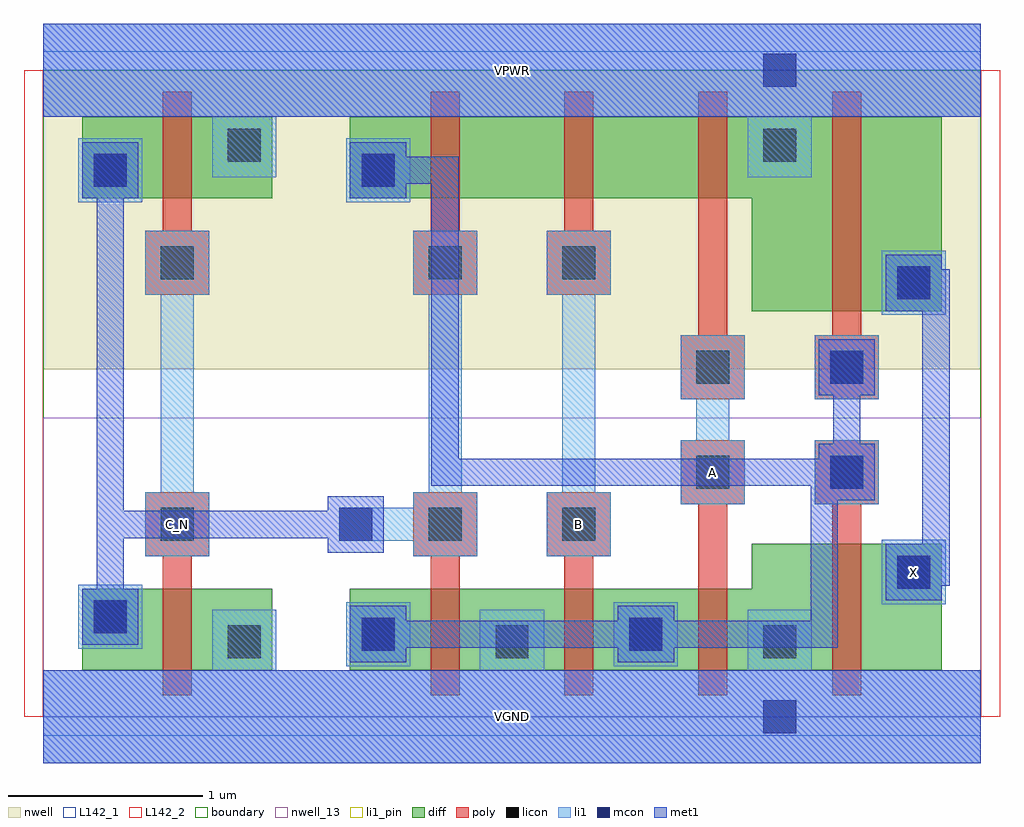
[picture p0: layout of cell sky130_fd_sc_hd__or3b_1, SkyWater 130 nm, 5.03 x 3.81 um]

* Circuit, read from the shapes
.subckt sky130_fd_sc_hd__or3b_1 A B C_N VGND VPWR X
XM1 VGND C_N n1 VSUBS sky130_fd_pr__nfet_01v8 w=0.42 l=0.15
XM2 VGND n1 n2 VSUBS sky130_fd_pr__nfet_01v8 w=0.42 l=0.15
XM3 n2 B VGND VSUBS sky130_fd_pr__nfet_01v8 w=0.42 l=0.15
XM4 VGND A n2 VSUBS sky130_fd_pr__nfet_01v8 w=0.42 l=0.15
XM5 X n2 VGND VSUBS sky130_fd_pr__nfet_01v8 w=0.65 l=0.15
XM6 VPWR C_N n1 n3 sky130_fd_pr__pfet_01v8 w=0.42 l=0.15
XM7 n4 n1 n2 n3 sky130_fd_pr__pfet_01v8 w=0.42 l=0.15
XM8 n5 B n4 n3 sky130_fd_pr__pfet_01v8 w=0.42 l=0.15
XM9 VPWR A n5 n3 sky130_fd_pr__pfet_01v8 w=0.42 l=0.15
XM10 X n2 VPWR n3 sky130_fd_pr__pfet_01v8 w=1 l=0.15
.ends

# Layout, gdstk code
import gdstk
lib = gdstk.Library(unit=1e-6, precision=1e-09)
def R(c, l, rs):  # rectangles x0, y0, x1, y1
    for r in rs: c.add(gdstk.rectangle(r[:2], r[2:], *l))
def A(c, l, x, y, w, h, nx, ny, dx, dy):  # array of equal rectangles
    R(c, l, [(x+i*dx, y+j*dy, x+i*dx+w, y+j*dy+h) for i in range(nx) for j in range(ny)])
def P(c, l, *ps):  # polygons
    for p in ps: c.add(gdstk.Polygon(p, *l))
nwell_13 = (64, 13)
nwell = (64, 20)
diff = (65, 20)
poly = (66, 20)
licon = (66, 44)
li1_pin = (67, 16)
li1 = (67, 20)
mcon = (67, 44)
met1 = (68, 20)
L142_1 = (142, 1)
L142_2 = (142, 2)
boundary = (235, 4)

sky130_fd_sc_hd__or3b_1 = lib.new_cell('sky130_fd_sc_hd__or3b_1')
R(sky130_fd_sc_hd__or3b_1, nwell_13, [(0,0,4.83,1.54)])
R(sky130_fd_sc_hd__or3b_1, nwell, [(0,1.79,4.83,3.33)])
R(sky130_fd_sc_hd__or3b_1, diff, [(0.2,0.24,1.18,0.66), (0.2,0.24,0.615,0.66), (0.615,0.24,1.18,0.66), (1.58,0.24,1.995,0.66), (1.995,0.24,2.685,0.66), (2.685,0.24,3.375,0.66), (4.065,0.24,4.63,0.89), (4.065,2.09,4.63,3.09), (0.2,2.67,1.18,3.09), (0.2,2.67,0.615,3.09), (0.615,2.67,1.18,3.09), (1.58,2.67,1.995,3.09), (1.995,2.67,2.685,3.09), (2.685,2.67,3.375,3.09)])
P(sky130_fd_sc_hd__or3b_1, diff, [(1.58,0.24),(1.58,0.66),(3.65,0.66),(3.65,0.89),(4.63,0.89),(4.63,0.24)],
  [(3.375,0.24),(3.375,0.66),(3.65,0.66),(3.65,0.89),(4.065,0.89),(4.065,0.24)],
  [(3.65,2.09),(3.65,2.67),(1.58,2.67),(1.58,3.09),(4.63,3.09),(4.63,2.09)],
  [(3.65,2.09),(3.65,2.67),(3.375,2.67),(3.375,3.09),(4.065,3.09),(4.065,2.09)])
P(sky130_fd_sc_hd__or3b_1, poly, [(2.685,0.11),(2.685,0.825),(2.595,0.825),(2.595,1.155),(2.925,1.155),(2.925,0.825),(2.835,0.825),(2.835,0.11)],
  [(2.595,2.175),(2.595,2.505),(2.685,2.505),(2.685,3.22),(2.835,3.22),(2.835,2.505),(2.925,2.505),(2.925,2.175)],
  [(4.065,0.11),(4.065,1.095),(3.975,1.095),(3.975,1.425),(4.305,1.425),(4.305,1.095),(4.215,1.095),(4.215,0.11)],
  [(3.975,1.635),(3.975,1.965),(4.065,1.965),(4.065,3.22),(4.215,3.22),(4.215,1.965),(4.305,1.965),(4.305,1.635)],
  [(1.995,0.11),(1.995,0.825),(1.905,0.825),(1.905,1.155),(2.235,1.155),(2.235,0.825),(2.145,0.825),(2.145,0.11)],
  [(1.905,2.175),(1.905,2.505),(1.995,2.505),(1.995,3.22),(2.145,3.22),(2.145,2.505),(2.235,2.505),(2.235,2.175)],
  [(3.375,0.11),(3.375,1.095),(3.285,1.095),(3.285,1.425),(3.615,1.425),(3.615,1.095),(3.525,1.095),(3.525,0.11)],
  [(3.285,1.635),(3.285,1.965),(3.375,1.965),(3.375,3.22),(3.525,3.22),(3.525,1.965),(3.615,1.965),(3.615,1.635)],
  [(0.615,0.11),(0.615,0.825),(0.525,0.825),(0.525,1.155),(0.855,1.155),(0.855,0.825),(0.765,0.825),(0.765,0.11)],
  [(0.525,2.175),(0.525,2.505),(0.615,2.505),(0.615,3.22),(0.765,3.22),(0.765,2.505),(0.855,2.505),(0.855,2.175)])
A(sky130_fd_sc_hd__or3b_1, licon, 0.95, 0.3, 0.17, 0.17, 3, 1, 1.38, 0)
R(sky130_fd_sc_hd__or3b_1, licon, [(1.64,0.34,1.81,0.51), (3.02,0.34,3.19,0.51), (0.26,0.43,0.43,0.6), (4.4,0.66,4.57,0.83), (0.605,0.905,0.775,1.075), (1.985,0.905,2.155,1.075), (2.675,0.905,2.845,1.075), (3.365,1.175,3.535,1.345), (4.055,1.175,4.225,1.345), (3.365,1.715,3.535,1.885), (4.055,1.715,4.225,1.885), (4.4,2.15,4.57,2.32), (0.605,2.255,0.775,2.425), (1.985,2.255,2.155,2.425), (2.675,2.255,2.845,2.425), (0.26,2.73,0.43,2.9), (1.64,2.73,1.81,2.9), (0.95,2.86,1.12,3.03), (3.71,2.86,3.88,3.03)])
R(sky130_fd_sc_hd__or3b_1, li1_pin, [(0,-0.24,4.83,0.24), (4.32,0.58,4.65,0.91), (0,3.09,4.83,3.57)])
P(sky130_fd_sc_hd__or3b_1, li1_pin, [(2.595,0.825),(2.595,1.155),(2.675,1.155),(2.675,2.175),(2.595,2.175),(2.595,2.505),(2.925,2.505),(2.925,2.175),(2.845,2.175),(2.845,1.155),(2.925,1.155),(2.925,0.825)],
  [(0.525,0.825),(0.525,1.155),(0.605,1.155),(0.605,2.175),(0.525,2.175),(0.525,2.505),(0.855,2.505),(0.855,2.175),(0.775,2.175),(0.775,1.155),(0.855,1.155),(0.855,0.825)],
  [(3.285,1.095),(3.285,1.425),(3.365,1.425),(3.365,1.635),(3.285,1.635),(3.285,1.965),(3.615,1.965),(3.615,1.635),(3.535,1.635),(3.535,1.425),(3.615,1.425),(3.615,1.095)])
R(sky130_fd_sc_hd__or3b_1, li1, [(1.56,0.26,1.89,0.59), (2.94,0.26,3.27,0.59), (0.18,0.35,0.51,0.68), (4.32,0.58,4.65,0.91), (3.975,1.095,4.305,1.425), (3.975,1.635,4.305,1.965), (4.32,2.07,4.65,2.4), (0.18,2.65,0.51,2.98), (1.56,2.65,1.89,2.98)])
P(sky130_fd_sc_hd__or3b_1, li1, [(2.595,0.825),(2.595,1.155),(2.675,1.155),(2.675,2.175),(2.595,2.175),(2.595,2.505),(2.925,2.505),(2.925,2.175),(2.845,2.175),(2.845,1.155),(2.925,1.155),(2.925,0.825)],
  [(0.87,2.78),(0.87,3.09),(0,3.09),(0,3.57),(4.83,3.57),(4.83,3.09),(3.96,3.09),(3.96,2.78),(3.63,2.78),(3.63,3.09),(1.2,3.09),(1.2,2.78)],
  [(1.905,0.825),(1.905,0.905),(1.525,0.905),(1.525,1.075),(1.905,1.075),(1.905,1.155),(1.985,1.155),(1.985,2.175),(1.905,2.175),(1.905,2.505),(2.235,2.505),(2.235,2.175),(2.155,2.175),(2.155,1.155),(2.235,1.155),(2.235,0.825)],
  [(0,-0.24),(0,0.24),(0.87,0.24),(0.87,0.55),(1.2,0.55),(1.2,0.24),(2.25,0.24),(2.25,0.55),(2.58,0.55),(2.58,0.24),(3.63,0.24),(3.63,0.55),(3.96,0.55),(3.96,0.24),(4.83,0.24),(4.83,-0.24)],
  [(3.285,1.095),(3.285,1.425),(3.365,1.425),(3.365,1.635),(3.285,1.635),(3.285,1.965),(3.615,1.965),(3.615,1.635),(3.535,1.635),(3.535,1.425),(3.615,1.425),(3.615,1.095)],
  [(0.525,0.825),(0.525,1.155),(0.605,1.155),(0.605,2.175),(0.525,2.175),(0.525,2.505),(0.855,2.505),(0.855,2.175),(0.775,2.175),(0.775,1.155),(0.855,1.155),(0.855,0.825)])
R(sky130_fd_sc_hd__or3b_1, mcon, [(3.71,-0.085,3.88,0.085), (1.64,0.34,1.81,0.51), (3.02,0.34,3.19,0.51), (0.26,0.43,0.43,0.6), (4.4,0.66,4.57,0.83), (1.525,0.905,1.695,1.075), (4.055,1.175,4.225,1.345), (4.055,1.715,4.225,1.885), (4.4,2.15,4.57,2.32), (0.26,2.73,0.43,2.9), (1.64,2.73,1.81,2.9), (3.71,3.245,3.88,3.415)])
R(sky130_fd_sc_hd__or3b_1, met1, [(0,-0.24,4.83,0.24), (0,3.09,4.83,3.57)])
P(sky130_fd_sc_hd__or3b_1, met1, [(1.58,0.28),(1.58,0.57),(1.87,0.57),(1.87,0.495),(2.96,0.495),(2.96,0.57),(3.25,0.57),(3.25,0.495),(3.955,0.495),(3.955,1.19),(2,1.19),(2,2.745),(1.87,2.745),(1.87,2.67),(1.58,2.67),(1.58,2.96),(1.87,2.96),(1.87,2.885),(2.14,2.885),(2.14,1.33),(3.995,1.33),(3.995,1.405),(4.07,1.405),(4.07,1.655),(3.995,1.655),(3.995,1.945),(4.285,1.945),(4.285,1.655),(4.21,1.655),(4.21,1.405),(4.285,1.405),(4.285,1.115),(4.095,1.115),(4.095,0.355),(3.25,0.355),(3.25,0.28),(2.96,0.28),(2.96,0.355),(1.87,0.355),(1.87,0.28)],
  [(0.2,0.37),(0.2,0.66),(0.275,0.66),(0.275,2.67),(0.2,2.67),(0.2,2.96),(0.49,2.96),(0.49,2.67),(0.415,2.67),(0.415,1.06),(1.465,1.06),(1.465,1.135),(1.755,1.135),(1.755,0.845),(1.465,0.845),(1.465,0.92),(0.415,0.92),(0.415,0.66),(0.49,0.66),(0.49,0.37)],
  [(4.34,0.6),(4.34,0.89),(4.53,0.89),(4.53,2.09),(4.34,2.09),(4.34,2.38),(4.63,2.38),(4.63,2.305),(4.67,2.305),(4.67,0.675),(4.63,0.675),(4.63,0.6)])
R(sky130_fd_sc_hd__or3b_1, L142_1, [(0,-0.1,4.83,0), (0,3.33,4.83,3.43)])
R(sky130_fd_sc_hd__or3b_1, L142_2, [(-0.1,0,0,3.33), (4.83,0,4.93,3.33)])
R(sky130_fd_sc_hd__or3b_1, boundary, [(0,0,4.83,3.33)])
sky130_fd_sc_hd__or3b_1.add(gdstk.Label('X', (4.485,0.745), layer=67, texttype=5))
sky130_fd_sc_hd__or3b_1.add(gdstk.Label('B', (2.76,0.99), layer=67, texttype=5))
sky130_fd_sc_hd__or3b_1.add(gdstk.Label('C_N', (0.69,0.99), layer=67, texttype=5))
sky130_fd_sc_hd__or3b_1.add(gdstk.Label('A', (3.45,1.26), layer=67, texttype=5))
sky130_fd_sc_hd__or3b_1.add(gdstk.Label('VGND', (2.415,0), layer=67, texttype=5))
sky130_fd_sc_hd__or3b_1.add(gdstk.Label('VPWR', (2.415,3.33), layer=67, texttype=5))
sky130_fd_sc_hd__or3b_1.add(gdstk.Label('VGND', (2.415,0), layer=68, texttype=5))
sky130_fd_sc_hd__or3b_1.add(gdstk.Label('VPWR', (2.415,3.33), layer=68, texttype=5))

lib.write_gds('sky130_fd_sc_hd__or3b_1.gds')
